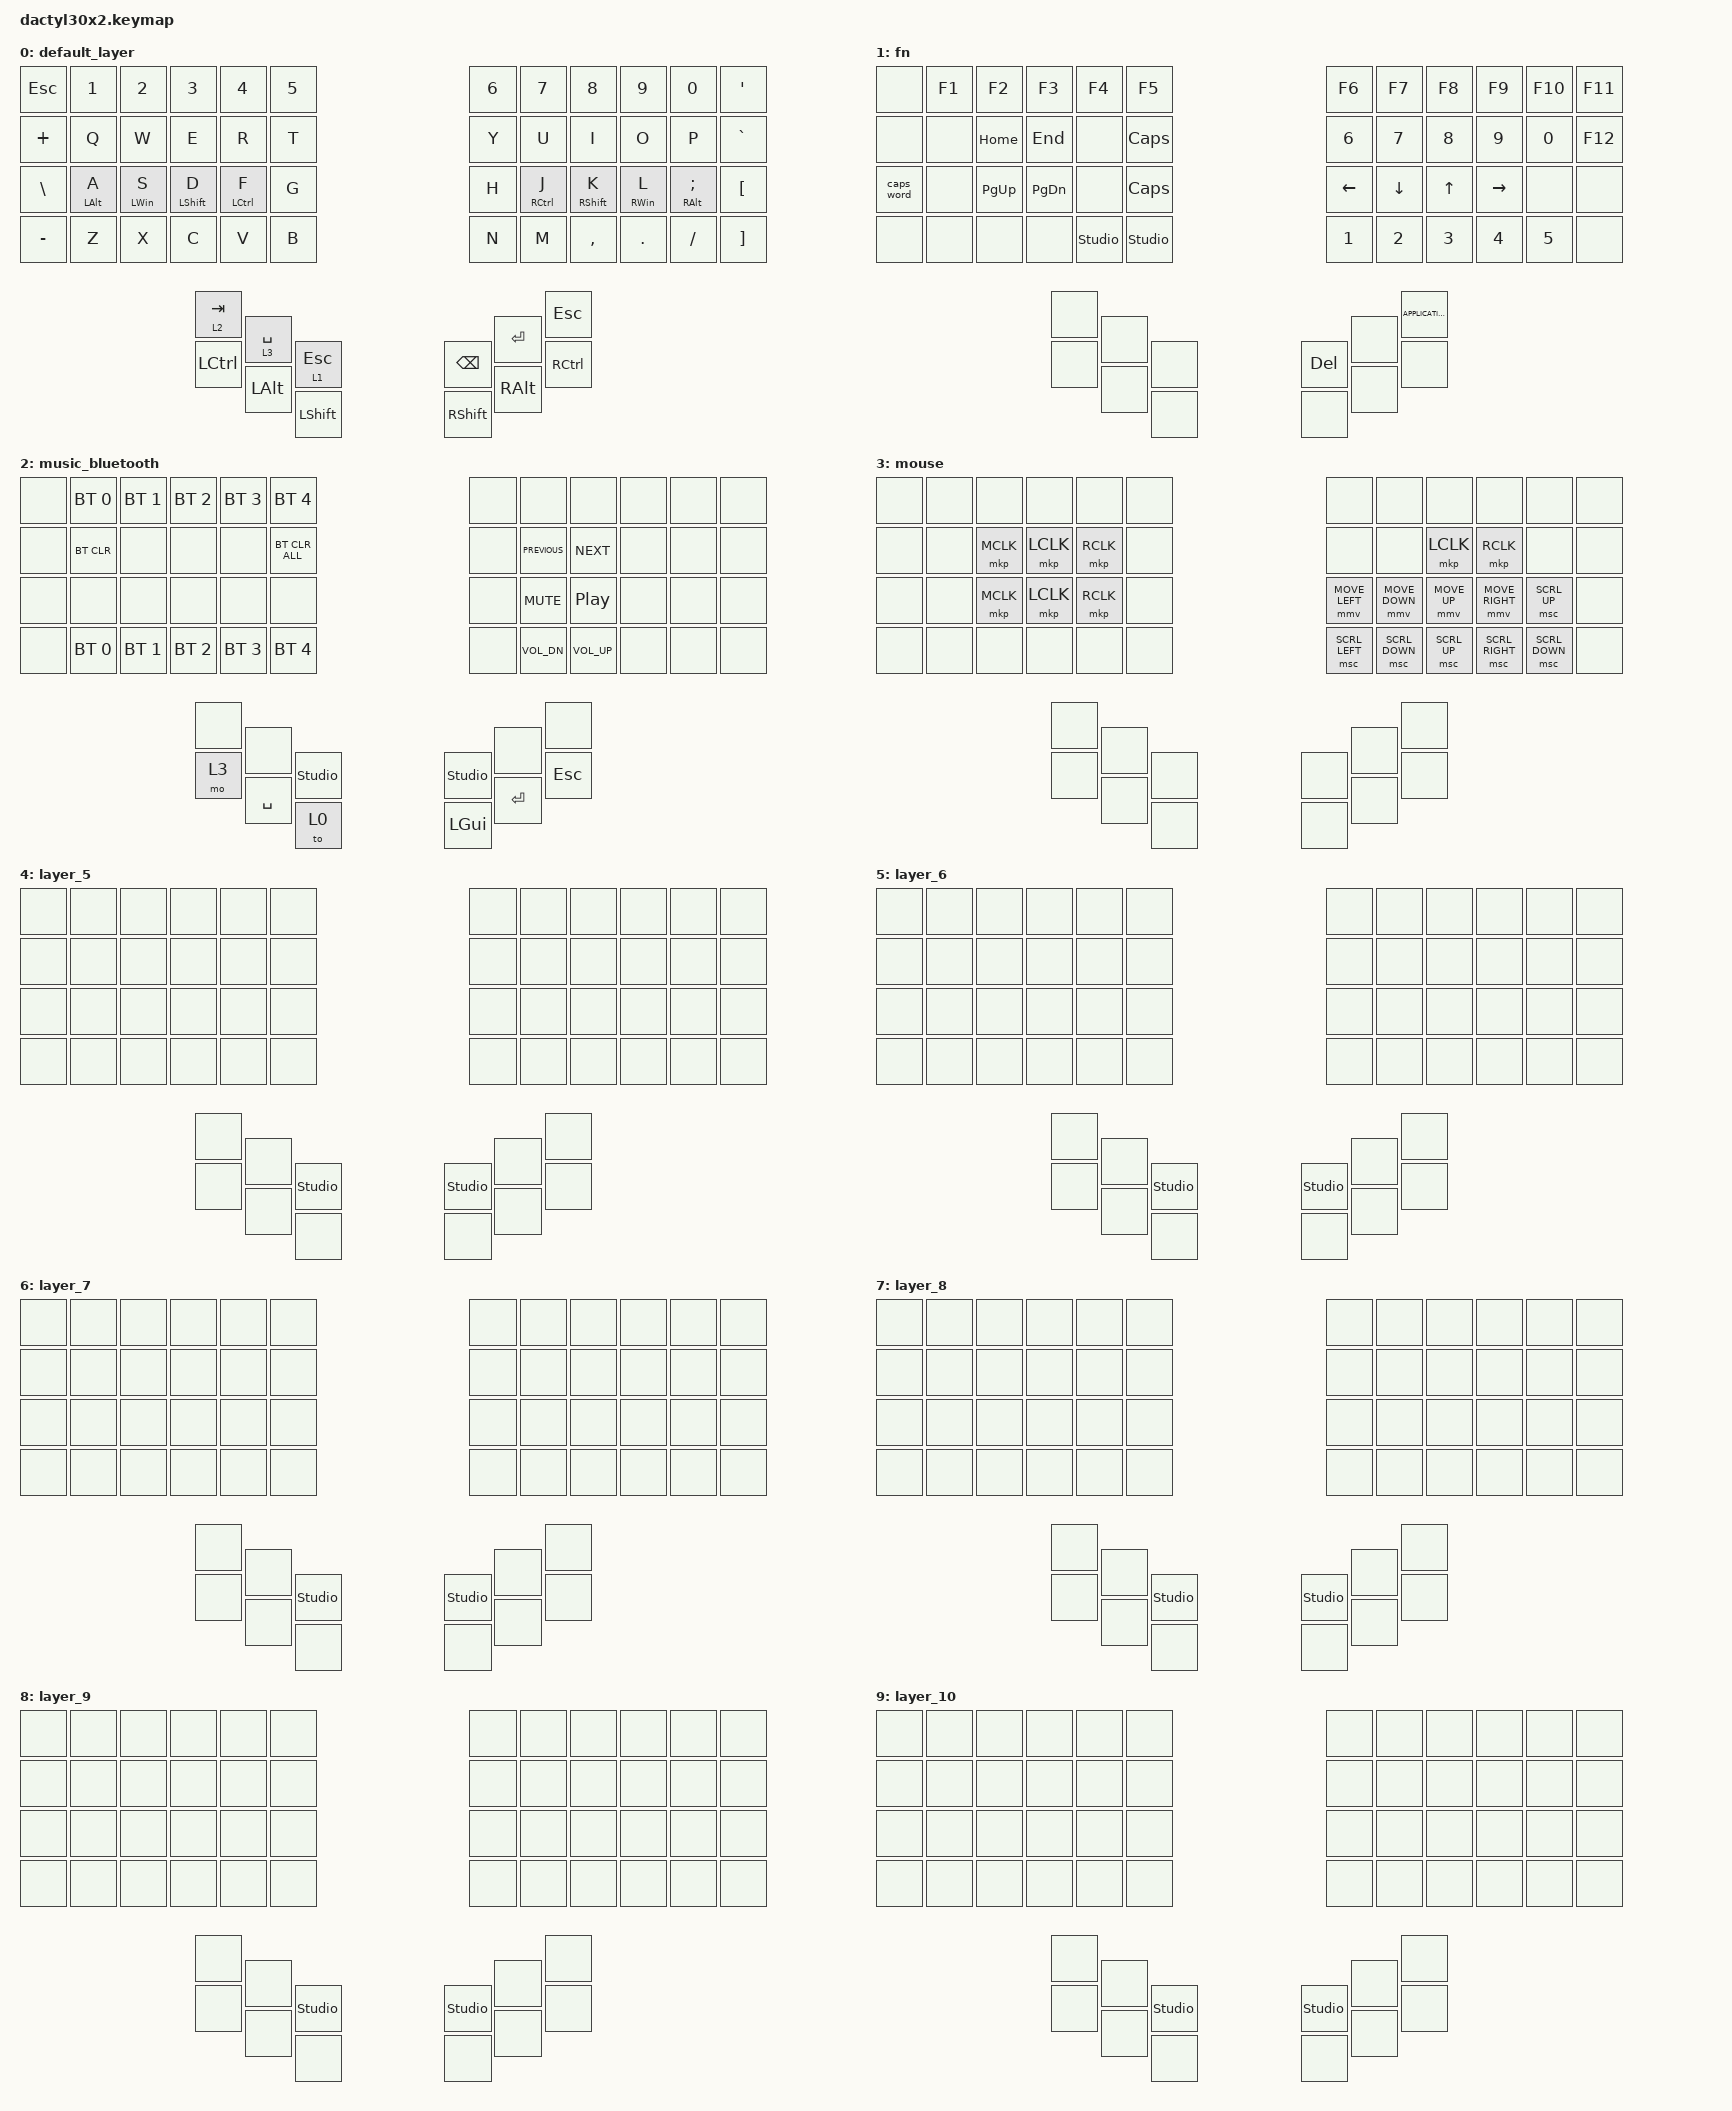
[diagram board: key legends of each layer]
/*
 * Copyright (c) 2020 The ZMK Contributors
 *
 * SPDX-License-Identifier: MIT
 * Modified by Nuty  L.A.B.S.
 */

#include <behaviors.dtsi>
#include <dt-bindings/zmk/bt.h>
#include <dt-bindings/zmk/keys.h>
#include <dt-bindings/zmk/pointing.h>

/ {
    behaviors {
        hm: homerow_mods {
            compatible = "zmk,behavior-hold-tap";
            #binding-cells = <2>;
            tapping-term-ms = <150>;
            flavor = "tap-preferred";
            require-prior-idle-ms = <125>;
            bindings = <&kp>, <&kp>;
        };
    };

    keymap {
        compatible = "zmk,keymap";

        default_layer {
            bindings = <
&kp ESCAPE     &kp NUMBER_1    &kp NUMBER_2    &kp NUMBER_3      &kp NUMBER_4  &kp N5        &kp NUMBER_6   &kp N7       &kp N8             &kp N9           &kp N0              &kp SINGLE_QUOTE
&kp PLUS       &kp Q           &kp W           &kp E             &kp R         &kp T         &kp Y          &kp U        &kp I              &kp O            &kp P               &kp GRAVE
&kp BACKSLASH  &hm LEFT_ALT A  &hm LEFT_WIN S  &hm LEFT_SHIFT D  &hm LCTRL F   &kp G         &kp H          &hm RCTRL J  &hm RIGHT_SHIFT K  &hm RIGHT_WIN L  &hm RIGHT_ALT SEMI  &kp LEFT_BRACKET
&kp MINUS      &kp Z           &kp X           &kp C             &kp V         &kp B         &kp N          &kp M        &kp COMMA          &kp DOT          &kp FSLH            &kp RIGHT_BRACKET
&kp LCTRL      &kp LEFT_ALT    &kp LEFT_SHIFT  &lt 2 TAB         &lt 3 SPACE   &lt 1 ESCAPE  &kp BACKSPACE  &kp ENTER    &kp ESCAPE         &kp RIGHT_SHIFT  &kp RIGHT_ALT       &kp RCTRL
            >;
        };

        fn {
            bindings = <
&none       &kp F1  &kp F2       &kp F3         &kp F4          &kp F5          &kp F6      &kp F7    &kp F8             &kp F9     &kp F10  &kp F11
&none       &none   &kp HOME     &kp END        &none           &kp CAPSLOCK    &kp N6      &kp N7    &kp N8             &kp N9     &kp N0   &kp F12
&caps_word  &none   &kp PAGE_UP  &kp PAGE_DOWN  &none           &kp CAPS        &kp LEFT    &kp DOWN  &kp UP             &kp RIGHT  &none    &none
&none       &none   &none        &none          &studio_unlock  &studio_unlock  &kp N1      &kp N2    &kp N3             &kp N4     &kp N5   &none
&none       &none   &none        &none          &none           &none           &kp DELETE  &none     &kp K_APPLICATION  &none      &none    &none
            >;
        };

        music_bluetooth {
            bindings = <
&none  &bt BT_SEL 0  &bt BT_SEL 1  &bt BT_SEL 2  &bt BT_SEL 3  &bt BT_SEL 4    &none           &none           &none             &none     &none      &none
&none  &bt BT_CLR    &none         &none         &none         &bt BT_CLR_ALL  &none           &kp C_PREVIOUS  &kp C_NEXT        &none     &none      &none
&none  &none         &none         &none         &none         &none           &none           &kp C_MUTE      &kp C_PLAY_PAUSE  &none     &none      &none
&none  &bt BT_SEL 0  &bt BT_SEL 1  &bt BT_SEL 2  &bt BT_SEL 3  &bt BT_SEL 4    &none           &kp C_VOL_DN    &kp C_VOLUME_UP   &none     &none      &none
&mo 3  &kp SPACE     &to 0         &none         &none         &studio_unlock  &studio_unlock  &none           &none             &kp LGUI  &kp ENTER  &kp ESC
            >;
        };

        mouse {
            bindings = <
&none  &none  &none      &none      &none      &none  &none           &none           &none         &none            &none           &none
&none  &none  &mkp MCLK  &mkp LCLK  &mkp RCLK  &none  &none           &none           &mkp LCLK     &mkp RCLK        &none           &none
&none  &none  &mkp MCLK  &mkp LCLK  &mkp RCLK  &none  &mmv MOVE_LEFT  &mmv MOVE_DOWN  &mmv MOVE_UP  &mmv MOVE_RIGHT  &msc SCRL_UP    &none
&none  &none  &none      &none      &none      &none  &msc SCRL_LEFT  &msc SCRL_DOWN  &msc SCRL_UP  &msc SCRL_RIGHT  &msc SCRL_DOWN  &none
&none  &none  &none      &none      &none      &none  &none           &none           &none         &none            &none           &none
            >;
        };

        layer_5 {
            bindings = <
&none  &none  &none  &none  &none  &none           &none           &none  &none  &none  &none  &none
&none  &none  &none  &none  &none  &none           &none           &none  &none  &none  &none  &none
&none  &none  &none  &none  &none  &none           &none           &none  &none  &none  &none  &none
&none  &none  &none  &none  &none  &none           &none           &none  &none  &none  &none  &none
&none  &none  &none  &none  &none  &studio_unlock  &studio_unlock  &none  &none  &none  &none  &none
            >;
        };

        layer_6 {
            bindings = <
&none  &none  &none  &none  &none  &none           &none           &none  &none  &none  &none  &none
&none  &none  &none  &none  &none  &none           &none           &none  &none  &none  &none  &none
&none  &none  &none  &none  &none  &none           &none           &none  &none  &none  &none  &none
&none  &none  &none  &none  &none  &none           &none           &none  &none  &none  &none  &none
&none  &none  &none  &none  &none  &studio_unlock  &studio_unlock  &none  &none  &none  &none  &none
            >;
        };

        layer_7 {
            bindings = <
&none  &none  &none  &none  &none  &none           &none           &none  &none  &none  &none  &none
&none  &none  &none  &none  &none  &none           &none           &none  &none  &none  &none  &none
&none  &none  &none  &none  &none  &none           &none           &none  &none  &none  &none  &none
&none  &none  &none  &none  &none  &none           &none           &none  &none  &none  &none  &none
&none  &none  &none  &none  &none  &studio_unlock  &studio_unlock  &none  &none  &none  &none  &none
            >;
        };

        layer_8 {
            bindings = <
&none  &none  &none  &none  &none  &none           &none           &none  &none  &none  &none  &none
&none  &none  &none  &none  &none  &none           &none           &none  &none  &none  &none  &none
&none  &none  &none  &none  &none  &none           &none           &none  &none  &none  &none  &none
&none  &none  &none  &none  &none  &none           &none           &none  &none  &none  &none  &none
&none  &none  &none  &none  &none  &studio_unlock  &studio_unlock  &none  &none  &none  &none  &none
            >;
        };

        layer_9 {
            bindings = <
&none  &none  &none  &none  &none  &none           &none           &none  &none  &none  &none  &none
&none  &none  &none  &none  &none  &none           &none           &none  &none  &none  &none  &none
&none  &none  &none  &none  &none  &none           &none           &none  &none  &none  &none  &none
&none  &none  &none  &none  &none  &none           &none           &none  &none  &none  &none  &none
&none  &none  &none  &none  &none  &studio_unlock  &studio_unlock  &none  &none  &none  &none  &none
            >;
        };

        layer_10 {
            bindings = <
&none  &none  &none  &none  &none  &none           &none           &none  &none  &none  &none  &none
&none  &none  &none  &none  &none  &none           &none           &none  &none  &none  &none  &none
&none  &none  &none  &none  &none  &none           &none           &none  &none  &none  &none  &none
&none  &none  &none  &none  &none  &none           &none           &none  &none  &none  &none  &none
&none  &none  &none  &none  &none  &studio_unlock  &studio_unlock  &none  &none  &none  &none  &none
            >;
        };
    };
};
